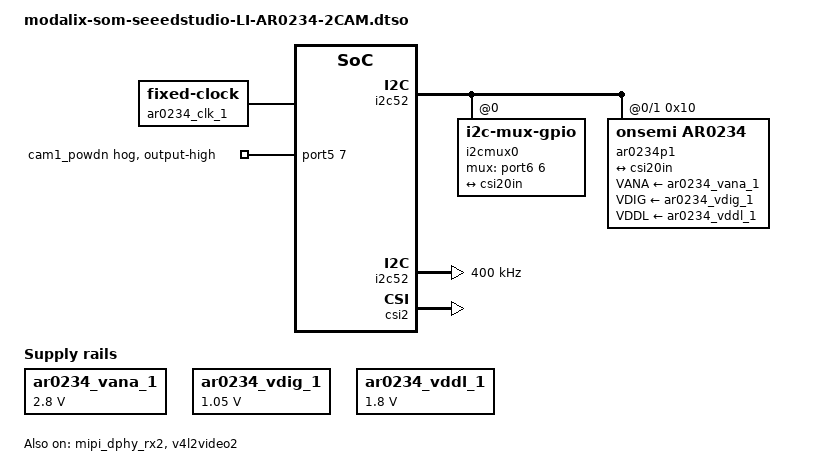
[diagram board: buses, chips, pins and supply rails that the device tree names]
// SPDX-License-Identifier: (GPL-2.0+ OR MIT)
/*
 * Copyright (c) 2026 SiMa ai
 */

/dts-v1/;
/plugin/;

&{/} {
    ar0234_vana_1: csi2_fixedregulator@0 {
        compatible = "regulator-fixed";
        regulator-name = "ar0234_vana_1";
        regulator-min-microvolt = <2800000>;
        regulator-max-microvolt = <2800000>;
        enable-active-high;
        startup-delay-us = <300000>;
        regulator-always-on;
    };

    ar0234_vdig_1: csi2_fixedregulator@1 {
        compatible = "regulator-fixed";
        regulator-name = "ar0234_vdig_1";
        regulator-min-microvolt = <1050000>;
        regulator-max-microvolt = <1050000>;
        regulator-always-on;
    };

    ar0234_vddl_1: csi2_fixedregulator@2 {
        compatible = "regulator-fixed";
        regulator-name = "ar0234_vddl_1";
        regulator-min-microvolt = <1800000>;
        regulator-max-microvolt = <1800000>;
        regulator-always-on;
    };

    ar0234_clk_1: csi2_camera-clk {
        compatible = "fixed-clock";
        #clock-cells = <0>;
        clock-frequency = <27000000>;
    };

    i2cmux0: i2cmux@0 {
        compatible = "i2c-mux-gpio";
        i2c-parent = <&i2c52>;
        #address-cells = <1>;
        #size-cells = <0>;
        /* Set port6 gpio6 to GPIO_ACTIVE_LOW mode */
        mux-gpios = <&port6 6 0>;

        i2cmux0p1: i2c@1 {
            reg = <1>;
            #address-cells = <1>;
            #size-cells = <0>;
        };
    };
};

&port5 {
        cam-hog1 {
                gpio-hog;
                /* Set port5 gpio7 to GPIO_ACTIVE_HIGH mode */
                gpios = <7 0>;
                output-high;
                line-name = "cam1_powdn";
        };
};

&i2c52 {
    status = "okay";
    clock-frequency = <400000>;
    #address-cells = <1>;
    #size-cells = <0>;
};

&csi2 {
    status = "okay";
};

&axi_vdma2 {
    status = "okay";
};

&mipi_dphy_rx2 {
    status = "okay";
};

&v4l2video2 {
    status = "okay";
};

&v4l2vdma2 {
    status = "okay";
};

&csi20in {
    clock-lanes = <0>;
    data-lanes = <1 2>;
    link-frequencies = /bits/ 64 <270000000>;
    remote-endpoint = <&cam20out>;
    clock-continuous;
};

&i2cmux0p1 {
        ar0234p1: ar0234@10 {
                compatible = "onsemi,ar0234";
                reg = <0x10>;

                clocks = <&ar0234_clk_1>;
                clock-names = "xclk";

                VANA-supply = <&ar0234_vana_1>;
                VDIG-supply = <&ar0234_vdig_1>;
                VDDL-supply = <&ar0234_vddl_1>;

                port@1 {
                        cam20out: endpoint@0 {
                                clock-lanes = <0>;
                                data-lanes = <1 2>;
                                link-frequencies = /bits/ 64 <270000000>;
                                remote-endpoint = <&csi20in>;
                                clock-continuous;
                        };
                };
        };
};
